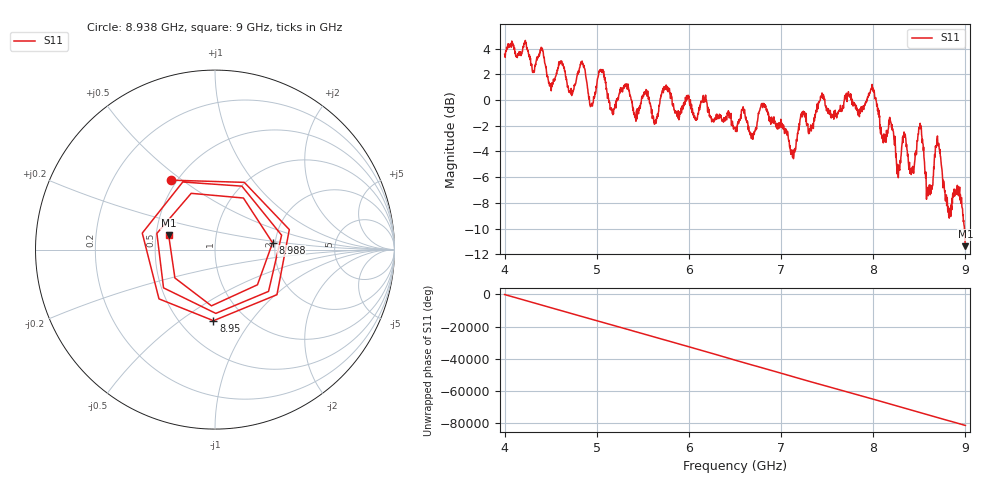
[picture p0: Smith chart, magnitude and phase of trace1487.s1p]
! Created with skrf 1.8.0 (http://scikit-rf.org).
# Hz S RI R 50.0
!freq ReS11 ImS11
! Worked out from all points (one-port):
!   1601 points, 4 GHz to 9 GHz, reference 50 ohm
!   lowest |S11| = -11.4 dB at 9 GHz (marker M1), VSWR 1.74, Z = 29.2 + j5.01 ohm
!   |S11| at or under -10 dB: 8.989264 GHz to end of sweep
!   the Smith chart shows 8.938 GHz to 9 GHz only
!   S11 on the Smith chart (normalised r, x): 8.938 GHz: 0.46, +0.45; 8.95 GHz: 0.72, -0.67; 8.988 GHz: 1.94, +0.16; 9 GHz: 0.58, +0.10
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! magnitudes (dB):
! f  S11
! 4 GHz  3.6
! 4.4 GHz  4.1
! 4.5 GHz  1.2
! 4.625 GHz  2.8
! 4.719 GHz  0.5
! 4.847 GHz  2.9
! 4.938 GHz  -0.4
! 5.047 GHz  2.3
! 5.162 GHz  -0.7
! 5.25 GHz  0.5
! 5.875 GHz  -1.0
! 6.5 GHz  -2.2
! 6.809 GHz  -0.4
! 7.125 GHz  -4.4
! 7.234 GHz  -1.1
! 7.75 GHz  0.5
! 7.991 GHz  0.9
! 8.269 GHz  -5.2
! 8.375 GHz  -4.2
! 8.422 GHz  -5.6
! 8.509 GHz  -1.8
! 8.6 GHz  -7.1
! 8.7 GHz  -3.3
! 8.816 GHz  -8.5
! 8.938 GHz  -6.8
! 8.95 GHz  -8.0
! 8.988 GHz  -9.8
! 9 GHz  -11.4
